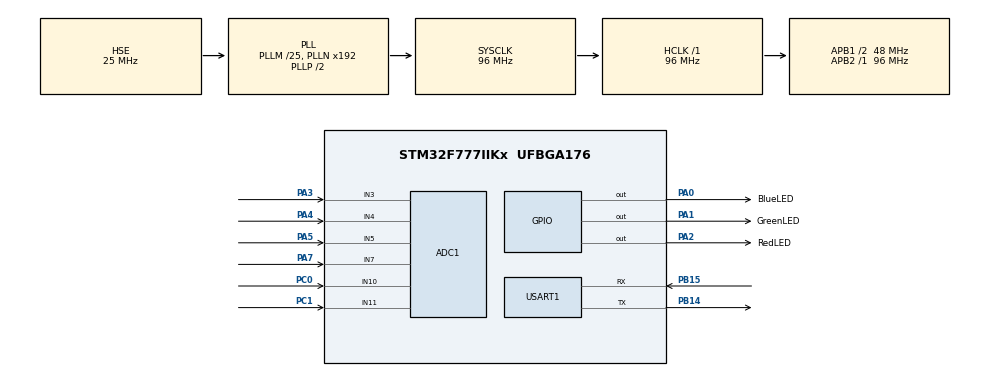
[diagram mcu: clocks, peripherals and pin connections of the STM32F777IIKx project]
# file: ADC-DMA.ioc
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ADC1.Channel-0\#ChannelRegularConversion=ADC_CHANNEL_4
ADC1.Channel-1\#ChannelRegularConversion=ADC_CHANNEL_5
ADC1.Channel-2\#ChannelRegularConversion=ADC_CHANNEL_3
ADC1.Channel-3\#ChannelRegularConversion=ADC_CHANNEL_7
ADC1.Channel-4\#ChannelRegularConversion=ADC_CHANNEL_10
ADC1.Channel-5\#ChannelRegularConversion=ADC_CHANNEL_11
ADC1.ContinuousConvMode=ENABLE
ADC1.DMAContinuousRequests=ENABLE
ADC1.NbrOfConversion=6
ADC1.NbrOfConversionFlag=1
ADC1.Rank-0\#ChannelRegularConversion=1
ADC1.Rank-1\#ChannelRegularConversion=2
ADC1.Rank-2\#ChannelRegularConversion=3
ADC1.Rank-3\#ChannelRegularConversion=4
ADC1.Rank-4\#ChannelRegularConversion=5
ADC1.Rank-5\#ChannelRegularConversion=6
ADC1.SamplingTime-0\#ChannelRegularConversion=ADC_SAMPLETIME_480CYCLES
ADC1.SamplingTime-1\#ChannelRegularConversion=ADC_SAMPLETIME_480CYCLES
ADC1.SamplingTime-2\#ChannelRegularConversion=ADC_SAMPLETIME_480CYCLES
ADC1.SamplingTime-3\#ChannelRegularConversion=ADC_SAMPLETIME_3CYCLES
ADC1.SamplingTime-4\#ChannelRegularConversion=ADC_SAMPLETIME_480CYCLES
ADC1.SamplingTime-5\#ChannelRegularConversion=ADC_SAMPLETIME_480CYCLES
ADC1.master=1
Dma.ADC1.0.Direction=DMA_PERIPH_TO_MEMORY
Dma.ADC1.0.FIFOMode=DMA_FIFOMODE_DISABLE
Dma.ADC1.0.Instance=DMA2_Stream0
Dma.ADC1.0.MemDataAlignment=DMA_MDATAALIGN_WORD
Dma.ADC1.0.MemInc=DMA_MINC_ENABLE
Dma.ADC1.0.Mode=DMA_CIRCULAR
Dma.ADC1.0.PeriphDataAlignment=DMA_PDATAALIGN_WORD
Dma.ADC1.0.PeriphInc=DMA_PINC_DISABLE
Dma.ADC1.0.Priority=DMA_PRIORITY_LOW
Dma.Request0=ADC1
Mcu.Family=STM32F7
Mcu.Name=STM32F777IIKx
Mcu.Package=UFBGA176
NVIC.DMA2_Stream0_IRQn=true\:0\:0\:false\:false\:true\:false\:true
NVIC.PriorityGroup=NVIC_PRIORITYGROUP_4
PA0/WKUP.GPIO_Label=BlueLED
PA0/WKUP.Signal=GPIO_Output
PA1.GPIO_Label=GreenLED
PA1.Signal=GPIO_Output
PA2.GPIO_Label=RedLED
PA2.Signal=GPIO_Output
PA3.Signal=ADCx_IN3
PA4.Signal=ADCx_IN4
PA5.Signal=ADCx_IN5
PA7.Signal=ADCx_IN7
PB14.Mode=Asynchronous
PB14.Signal=USART1_TX
PB15.Mode=Asynchronous
PB15.Signal=USART1_RX
PC0.Signal=ADCx_IN10
PC1.Signal=ADCx_IN11
PH0/OSC_IN.Mode=HSE-External-Oscillator
PH0/OSC_IN.Signal=RCC_OSC_IN
PH1/OSC_OUT.Mode=HSE-External-Oscillator
PH1/OSC_OUT.Signal=RCC_OSC_OUT
ProjectManager.HeapSize=0x200
ProjectManager.StackSize=0x400
ProjectManager.TargetToolchain=STM32CubeIDE
RCC.AHBFreq_Value=96000000
RCC.APB1CLKDivider=RCC_HCLK_DIV2
RCC.APB1Freq_Value=48000000
RCC.APB1TimFreq_Value=96000000
RCC.APB2Freq_Value=96000000
RCC.APB2TimFreq_Value=96000000
RCC.CortexFreq_Value=96000000
RCC.HCLKFreq_Value=96000000
RCC.HSE_VALUE=25000000
RCC.HSI_VALUE=16000000
RCC.LSE_VALUE=32768
RCC.PLLM=25
RCC.PLLSourceVirtual=RCC_PLLSOURCE_HSE
RCC.SYSCLKFreq_VALUE=96000000
RCC.SYSCLKSource=RCC_SYSCLKSOURCE_PLLCLK
RCC.USBFreq_Value=96000000
RCC.VCOOutputFreq_Value=192000000
SH.ADCx_IN10.0=ADC1_IN10,IN10
SH.ADCx_IN11.0=ADC1_IN11,IN11
SH.ADCx_IN3.0=ADC1_IN3,IN3
SH.ADCx_IN4.0=ADC1_IN4,IN4
SH.ADCx_IN5.0=ADC1_IN5,IN5
SH.ADCx_IN7.0=ADC1_IN7,IN7
USART1.VirtualMode-Asynchronous=VM_ASYNC
board=custom

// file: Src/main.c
/* USER CODE BEGIN Header */
/**
 ******************************************************************************
 * @file           : main.c
 * @brief          : Main program body
 ******************************************************************************
 * @attention
 *
 * <h2><center>&copy; Copyright (c) 2019 STMicroelectronics.
 * All rights reserved.</center></h2>
 *
 * This software component is licensed by ST under BSD 3-Clause license,
 * the "License"; You may not use this file except in compliance with the
 * License. You may obtain a copy of the License at:
 *                        opensource.org/licenses/BSD-3-Clause
 *
 ******************************************************************************
 */
/* USER CODE END Header */

#include "main.h"

/* USER CODE BEGIN Includes */

#include <stdio.h>
#include <string.h>

/* USER CODE END Includes */

ADC_HandleTypeDef hadc1;
DMA_HandleTypeDef hdma_adc1;

UART_HandleTypeDef huart1;

/* USER CODE BEGIN PV */

char buffer[256];
uint32_t adcValues[6];
int counter = 0;
volatile uint32_t uhADCxConvertedValue;

/* USER CODE END PV */

void SystemClock_Config(void);
static void MX_GPIO_Init(void);
static void MX_DMA_Init(void);
static void MX_ADC1_Init(void);
static void MX_USART1_UART_Init(void);

/* USER CODE BEGIN 0 */

void SendMessage(char *message)
{
	HAL_UART_Transmit(&huart1, (uint8_t *) message, strlen(message), HAL_MAX_DELAY);
}

void HAL_ADC_ConvCpltCallback(ADC_HandleTypeDef * hadc)
{
	HAL_ADC_Stop_DMA(hadc);

	counter++;
	uint8_t integer[6], exponents[6];
	char buffer[256], number[20];
	snprintf(buffer, sizeof(buffer), "%04d:  ", counter);
	for (int index = 0; index < 6; index++)
	{
		double reading = (((float) adcValues[index]) / 4095) * 3.3;
		//
		//  Work around the fact that snprintf does not like the %f format specifier.
		//
		integer[index] = (int) reading;
		exponents[index] = (reading - integer[index]) * 100;
		snprintf(number, sizeof(number), "   %d.%02d", integer[index], exponents[index]);
		strcat(buffer, number);
	}
	strcat(buffer, "\n");
	SendMessage(buffer);

//	HAL_ADC_Stop(hadc);
}

/* USER CODE END 0 */

int main(void)
{

	/* MCU Configuration--------------------------------------------------------*/

	/* Reset of all peripherals, Initializes the Flash interface and the Systick. */
	HAL_Init();

	/* Configure the system clock */
	SystemClock_Config();

	/* Initialize all configured peripherals */
	MX_GPIO_Init();
	MX_DMA_Init();
	MX_ADC1_Init();
	MX_USART1_UART_Init();
	/* USER CODE BEGIN 2 */

	SendMessage("\n\nMeadow ADC Test Application\n\n");
	SendMessage(" No        A0     A1     A2     A3     A4     A5\n");

	HAL_GPIO_WritePin(RedLED_GPIO_Port, RedLED_Pin, SET);
	HAL_GPIO_WritePin(GreenLED_GPIO_Port, GreenLED_Pin, SET);
	HAL_GPIO_WritePin(BlueLED_GPIO_Port, BlueLED_Pin, SET);

	HAL_ADC_Start_DMA(&hadc1, (uint32_t*) adcValues, 6);

	/* USER CODE END 2 */

	/* Infinite loop */
	/* USER CODE BEGIN WHILE */
	while (1)
	{
		HAL_GPIO_TogglePin(BlueLED_GPIO_Port, BlueLED_Pin);
		HAL_Delay(1000);
		HAL_ADC_Start_DMA(&hadc1, (uint32_t*) adcValues, 6);

		/* USER CODE END WHILE */

	}
}

void SystemClock_Config(void)
{
	RCC_OscInitTypeDef RCC_OscInitStruct = { 0 };
	RCC_ClkInitTypeDef RCC_ClkInitStruct = { 0 };
	RCC_PeriphCLKInitTypeDef PeriphClkInitStruct = { 0 };

	/** Configure the main internal regulator output voltage
	 */
	__HAL_RCC_PWR_CLK_ENABLE()
	;
	__HAL_PWR_VOLTAGESCALING_CONFIG(PWR_REGULATOR_VOLTAGE_SCALE3);
	/** Initializes the CPU, AHB and APB busses clocks
	 */
	RCC_OscInitStruct.OscillatorType = RCC_OSCILLATORTYPE_HSE;
	RCC_OscInitStruct.HSEState = RCC_HSE_ON;
	RCC_OscInitStruct.PLL.PLLState = RCC_PLL_ON;
	RCC_OscInitStruct.PLL.PLLSource = RCC_PLLSOURCE_HSE;
	RCC_OscInitStruct.PLL.PLLM = 25;
	RCC_OscInitStruct.PLL.PLLN = 192;
	RCC_OscInitStruct.PLL.PLLP = RCC_PLLP_DIV2;
	RCC_OscInitStruct.PLL.PLLQ = 2;
	if (HAL_RCC_OscConfig(&RCC_OscInitStruct) != HAL_OK)
	{
		Error_Handler();
	}
	/** Activate the Over-Drive mode
	 */
	if (HAL_PWREx_EnableOverDrive() != HAL_OK)
	{
		Error_Handler();
	}
	/** Initializes the CPU, AHB and APB busses clocks
	 */
	RCC_ClkInitStruct.ClockType = RCC_CLOCKTYPE_HCLK | RCC_CLOCKTYPE_SYSCLK | RCC_CLOCKTYPE_PCLK1 | RCC_CLOCKTYPE_PCLK2;
	RCC_ClkInitStruct.SYSCLKSource = RCC_SYSCLKSOURCE_PLLCLK;
	RCC_ClkInitStruct.AHBCLKDivider = RCC_SYSCLK_DIV1;
	RCC_ClkInitStruct.APB1CLKDivider = RCC_HCLK_DIV2;
	RCC_ClkInitStruct.APB2CLKDivider = RCC_HCLK_DIV1;

	if (HAL_RCC_ClockConfig(&RCC_ClkInitStruct, FLASH_LATENCY_3) != HAL_OK)
	{
		Error_Handler();
	}
	PeriphClkInitStruct.PeriphClockSelection = RCC_PERIPHCLK_USART1;
	PeriphClkInitStruct.Usart1ClockSelection = RCC_USART1CLKSOURCE_PCLK2;
	if (HAL_RCCEx_PeriphCLKConfig(&PeriphClkInitStruct) != HAL_OK)
	{
		Error_Handler();
	}
}

static void MX_ADC1_Init(void)
{

	ADC_ChannelConfTypeDef sConfig = { 0 };

	/** Configure the global features of the ADC (Clock, Resolution, Data Alignment and number of conversion)
	 */
	hadc1.Instance = ADC1;
	hadc1.Init.ClockPrescaler = ADC_CLOCK_SYNC_PCLK_DIV4;
	hadc1.Init.Resolution = ADC_RESOLUTION_12B;
	hadc1.Init.ScanConvMode = ADC_SCAN_ENABLE;
	hadc1.Init.ContinuousConvMode = ENABLE;
	hadc1.Init.DiscontinuousConvMode = DISABLE;
	hadc1.Init.ExternalTrigConvEdge = ADC_EXTERNALTRIGCONVEDGE_NONE;
	hadc1.Init.ExternalTrigConv = ADC_SOFTWARE_START;
	hadc1.Init.DataAlign = ADC_DATAALIGN_RIGHT;
	hadc1.Init.NbrOfConversion = 6;
	hadc1.Init.DMAContinuousRequests = ENABLE;
	hadc1.Init.EOCSelection = ADC_EOC_SINGLE_CONV;
	if (HAL_ADC_Init(&hadc1) != HAL_OK)
	{
		Error_Handler();
	}
	/** Configure for the selected ADC regular channel its corresponding rank in the sequencer and its sample time.
	 */
	sConfig.Channel = ADC_CHANNEL_4;
	sConfig.Rank = ADC_REGULAR_RANK_1;
	sConfig.SamplingTime = ADC_SAMPLETIME_480CYCLES;
	if (HAL_ADC_ConfigChannel(&hadc1, &sConfig) != HAL_OK)
	{
		Error_Handler();
	}
	/** Configure for the selected ADC regular channel its corresponding rank in the sequencer and its sample time.
	 */
	sConfig.Channel = ADC_CHANNEL_5;
	sConfig.Rank = ADC_REGULAR_RANK_2;
	if (HAL_ADC_ConfigChannel(&hadc1, &sConfig) != HAL_OK)
	{
		Error_Handler();
	}
	/** Configure for the selected ADC regular channel its corresponding rank in the sequencer and its sample time.
	 */
	sConfig.Channel = ADC_CHANNEL_3;
	sConfig.Rank = ADC_REGULAR_RANK_3;
	if (HAL_ADC_ConfigChannel(&hadc1, &sConfig) != HAL_OK)
	{
		Error_Handler();
	}
	/** Configure for the selected ADC regular channel its corresponding rank in the sequencer and its sample time.
	 */
	sConfig.Channel = ADC_CHANNEL_7;
	sConfig.Rank = ADC_REGULAR_RANK_4;
	sConfig.SamplingTime = ADC_SAMPLETIME_3CYCLES;
	if (HAL_ADC_ConfigChannel(&hadc1, &sConfig) != HAL_OK)
	{
		Error_Handler();
	}
	/** Configure for the selected ADC regular channel its corresponding rank in the sequencer and its sample time.
	 */
	sConfig.Channel = ADC_CHANNEL_10;
	sConfig.Rank = ADC_REGULAR_RANK_5;
	sConfig.SamplingTime = ADC_SAMPLETIME_480CYCLES;
	if (HAL_ADC_ConfigChannel(&hadc1, &sConfig) != HAL_OK)
	{
		Error_Handler();
	}
	/** Configure for the selected ADC regular channel its corresponding rank in the sequencer and its sample time.
	 */
	sConfig.Channel = ADC_CHANNEL_11;
	sConfig.Rank = ADC_REGULAR_RANK_6;
	if (HAL_ADC_ConfigChannel(&hadc1, &sConfig) != HAL_OK)
	{
		Error_Handler();
	}

}

static void MX_USART1_UART_Init(void)
{

	huart1.Instance = USART1;
	huart1.Init.BaudRate = 115200;
	huart1.Init.WordLength = UART_WORDLENGTH_8B;
	huart1.Init.StopBits = UART_STOPBITS_1;
	huart1.Init.Parity = UART_PARITY_NONE;
	huart1.Init.Mode = UART_MODE_TX_RX;
	huart1.Init.HwFlowCtl = UART_HWCONTROL_NONE;
	huart1.Init.OverSampling = UART_OVERSAMPLING_16;
	huart1.Init.OneBitSampling = UART_ONE_BIT_SAMPLE_DISABLE;
	huart1.AdvancedInit.AdvFeatureInit = UART_ADVFEATURE_NO_INIT;
	if (HAL_UART_Init(&huart1) != HAL_OK)
	{
		Error_Handler();
	}

}

static void MX_DMA_Init(void)
{

	/* DMA controller clock enable */
	__HAL_RCC_DMA2_CLK_ENABLE()
	;

	/* DMA interrupt init */
	/* DMA2_Stream0_IRQn interrupt configuration */
	HAL_NVIC_SetPriority(DMA2_Stream0_IRQn, 0, 0);
	HAL_NVIC_EnableIRQ(DMA2_Stream0_IRQn);

}

static void MX_GPIO_Init(void)
{
	GPIO_InitTypeDef GPIO_InitStruct = { 0 };

	/* GPIO Ports Clock Enable */
	__HAL_RCC_GPIOH_CLK_ENABLE()
	;
	__HAL_RCC_GPIOC_CLK_ENABLE()
	;
	__HAL_RCC_GPIOA_CLK_ENABLE()
	;
	__HAL_RCC_GPIOB_CLK_ENABLE()
	;

	/*Configure GPIO pin Output Level */
	HAL_GPIO_WritePin(GPIOA, GreenLED_Pin | BlueLED_Pin | RedLED_Pin, GPIO_PIN_RESET);

	/*Configure GPIO pins : GreenLED_Pin BlueLED_Pin RedLED_Pin */
	GPIO_InitStruct.Pin = GreenLED_Pin | BlueLED_Pin | RedLED_Pin;
	GPIO_InitStruct.Mode = GPIO_MODE_OUTPUT_PP;
	GPIO_InitStruct.Pull = GPIO_NOPULL;
	GPIO_InitStruct.Speed = GPIO_SPEED_FREQ_LOW;
	HAL_GPIO_Init(GPIOA, &GPIO_InitStruct);

}

void Error_Handler(void)
{
}

/************************ (C) COPYRIGHT STMicroelectronics *****END OF FILE****/
